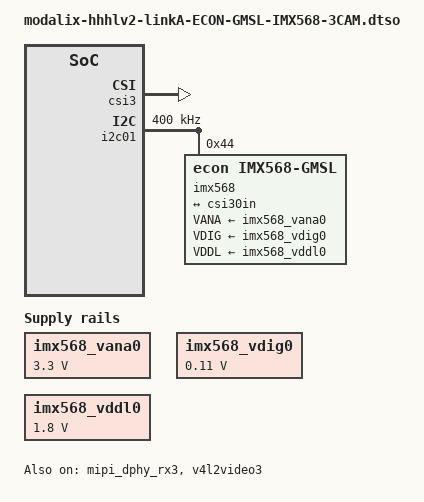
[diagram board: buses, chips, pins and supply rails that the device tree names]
// SPDX-License-Identifier: (GPL-2.0+ OR MIT)
/*
 * Copyright (c) 2026 SiMa ai
 */

/dts-v1/;
/plugin/;

&{/} {
    imx568_clk0: imx568_clk0 {
        status = "okay";
        compatible = "fixed-clock";
        #clock-cells = <0>;
        clock-frequency = <37125000>;
    };

    imx568_vana0: vana0 {
        compatible = "regulator-fixed";
        regulator-name = "imx568_vana0";
        regulator-min-microvolt = <3300000>;
        regulator-max-microvolt = <3300000>;
        enable-active-high;
        startup-delay-us = <300000>;
        regulator-always-on;
    };

    imx568_vdig0: vdig0 {
        compatible = "regulator-fixed";
        regulator-name = "imx568_vdig0";
        regulator-min-microvolt = <110000>;
        regulator-max-microvolt = <110000>;
        regulator-always-on;
    };

    imx568_vddl0: vddl0 {
        compatible = "regulator-fixed";
        regulator-name = "vddl0";
        regulator-min-microvolt = <1800000>;
        regulator-max-microvolt = <1800000>;
        regulator-always-on;
    };
};

&csi3 {
    status = "okay";
};

&axi_vdma3 {
    status = "okay";
};

&mipi_dphy_rx3 {
    status = "okay";
};

&v4l2video3 {
    status = "okay";
};

&v4l2vdma3 {
    status = "okay";
};

&csi30in{
    clock-lanes = <0>;
    data-lanes = <1 2 3 4>;
    link-frequencies = /bits/ 64 <594000000>;
    remote-endpoint = <&cam30out>;
    clock-continuous;
};

&i2c01 {
    status = "okay";
    clock-frequency = <400000>;
    #address-cells = <1>;
    #size-cells = <0>;

    /*
         * 0x44, not the MCU's native 0x42. Both camera MCUs are
         * natively 0x42, and serializer B passes 0x42 through
         * untranslated as well as translating 0x43 -> 0x42 for camera
         * B - so with both links up, 0x42 has two responders and reads
         * come back as the wire-AND of both MCUs.
         *
         * SER1_I2C_CONF (econ_imx568_serdes.h) programs serializer A's
         * translator slot 0 with SRC 0x44 -> DST 0x42, so camera A is
         * reachable here without colliding with anything. Verified on
         * hardware 2026-08-19: r1@0x44 and r1@0x43 both ACK
         * independently.
         *
         * NOTE: i2cdetect does NOT list 0x43 or 0x44 even when they
         * respond. Use "i2ctransfer -y -f 0 r1@0x44" to test
         * reachability - relying on i2cdetect here is misleading.
         */
        imx568: imx568@44 {
        compatible = "econ,imx568-gmsl";
        reg = <0x44>;
        clocks = <&imx568_clk0>;
        clock-names = "xclk";
        VANA-supply = <&imx568_vana0>;
        VDIG-supply = <&imx568_vdig0>;
        VDDL-supply = <&imx568_vddl0>;
        camera_mipi_lanes = <2>;
        cam_fw_name = "imx568_cam_fw_gmsl.bin";
        port@1 {
            reg = <1>;
            cam30out: endpoint@0 {
                reg = <0>;
                clock-lanes = <0>;
                data-lanes = <1 2 3 4>;
                link-frequencies = /bits/ 64 <594000000>;
                remote-endpoint = <&csi30in>;
                clock-continuous;
                /* Link A is Pipe Y / VC0. */
                sima,virtual-channel = <0>;
            };
        };
    };
};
